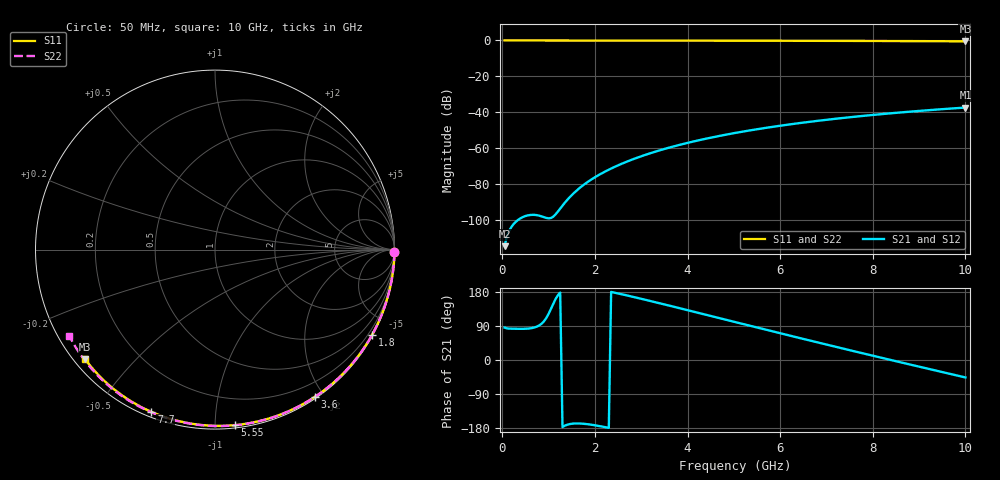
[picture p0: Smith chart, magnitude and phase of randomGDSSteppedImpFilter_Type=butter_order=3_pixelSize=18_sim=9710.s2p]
! freq	dB(S11)	phase(S11)	dB(S12)	phase(S12)
!  dB(S21)	phase(S21)	dB(S22)	phase(S22)
!S-par simulation data
#  GHz  S  DB  R 50
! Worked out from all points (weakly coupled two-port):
!   200 points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, 50 MHz to 10 GHz, reference 50 ohm
!   highest |S21| = -37.47 dB at 10 GHz (marker M1); lowest = -114.9 dB at 50 MHz (marker M2)
!   lowest |S11| = -0.5 dB at 10 GHz (marker M3), VSWR 36.73, Z = 1.54 - j18.3 ohm
!   |S11| at or under -10 dB: nowhere
!   |S22| runs from -0.5 to 0.0 dB; largest |S21 - S12| = 0
!   S11 on the Smith chart (normalised r, x): 50 MHz: open; 1.8 GHz: 0.03, -3.92; 3.6 GHz: 0.02, -1.88; 5.55 GHz: 0.02, -1.12; 7.7 GHz: 0.02, -0.68; 10 GHz: 0.03, -0.37
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0.05  -0.00 -0.8  -114.87 85.5  -114.87 85.5  -0.00 -0.9
0.45  -0.01 -7.3  -98.54 82.3  -98.54 82.3  -0.01 -7.8
0.9  -0.02 -14.5  -98.68 102.2  -98.68 102.2  -0.02 -15.5
1.3  -0.03 -20.8  -92.21 -177.0  -92.21 -177.0  -0.03 -22.3
1.75  -0.04 -27.9  -80.76 -168.2  -80.76 -168.2  -0.04 -29.9
1.8  -0.04 -28.6  -79.80 -168.8  -79.80 -168.8  -0.04 -30.7
1.95  -0.04 -31.0  -77.19 -171.3  -77.19 -171.3  -0.04 -33.2
2.1  -0.04 -33.3  -74.89 -174.3  -74.89 -174.3  -0.05 -35.7
2.3  -0.05 -36.4  -72.15 -179.1  -72.15 -179.1  -0.05 -39.0
2.5  -0.05 -39.5  -69.73 175.7  -69.73 175.7  -0.05 -42.3
2.9  -0.06 -45.5  -65.58 164.4  -65.58 164.4  -0.06 -48.7
3.4  -0.07 -53.0  -61.34 149.7  -61.34 149.7  -0.08 -56.7
3.6  -0.08 -55.9  -59.86 143.7  -59.86 143.7  -0.08 -59.8
4.3  -0.09 -66.1  -55.40 122.4  -55.40 122.4  -0.10 -70.6
5.05  -0.12 -76.6  -51.55 99.5  -51.55 99.5  -0.13 -81.8
5.55  -0.14 -83.5  -49.37 84.3  -49.37 84.3  -0.15 -89.1
6.1  -0.16 -90.8  -47.25 67.6  -47.25 67.6  -0.17 -96.9
6.7  -0.19 -98.7  -45.22 49.6  -45.22 49.6  -0.21 -105.2
7.7  -0.26 -111.4  -42.35 20.1  -42.35 20.1  -0.27 -118.8
8.35  -0.31 -119.5  -40.76 1.1  -40.76 1.1  -0.33 -127.5
9.2  -0.38 -130.0  -38.94 -23.3  -38.94 -23.3  -0.41 -138.7
10  -0.47 -139.8  -37.47 -46.0  -37.47 -46.0  -0.50 -149.3
